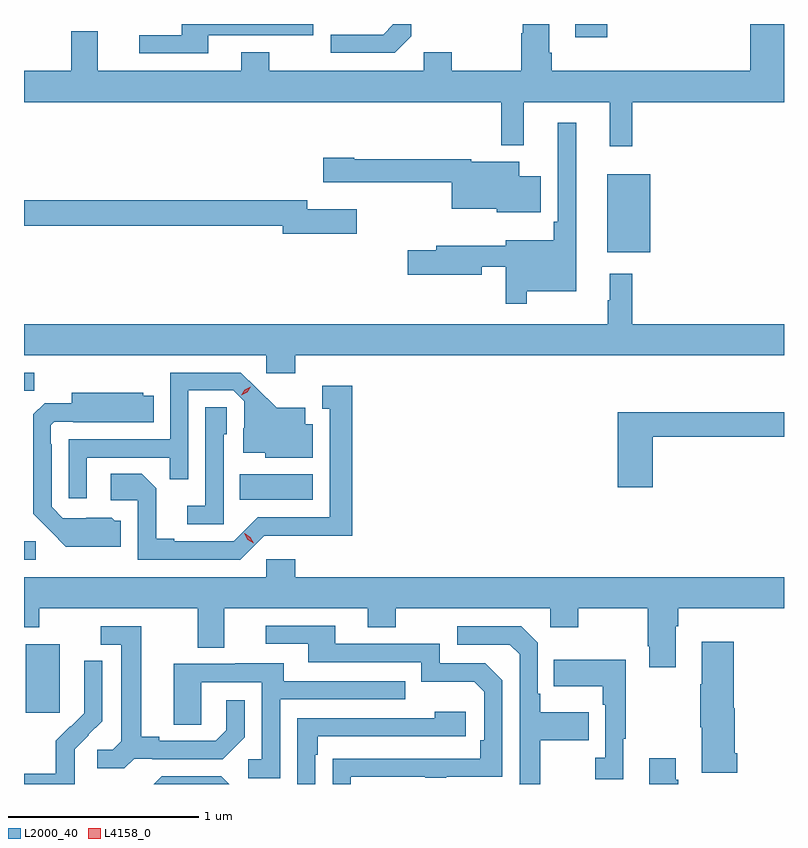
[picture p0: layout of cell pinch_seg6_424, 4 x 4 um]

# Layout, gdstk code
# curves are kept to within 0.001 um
import gdstk
lib = gdstk.Library(unit=1e-6, precision=1e-09)
def R(c, l, rs):  # rectangles x0, y0, x1, y1
    for r in rs: c.add(gdstk.rectangle(r[:2], r[2:], *l))
def P(c, l, *ps):  # polygons
    for p in ps: c.add(gdstk.Polygon(p, *l))
L2000_40 = (2000, 40)
L4158_0 = (4158, 0)

pinch_seg6_424 = lib.new_cell('pinch_seg6_424')
R(pinch_seg6_424, L2000_40, [(730.091,922.809,730.27,923.17), (730.082,923.616,730.144,923.712), (731.218,923.93,731.602,924.064), (730.082,924.505,730.137,924.6), (733.151,925.235,733.378,925.645), (732.983,926.364,733.151,926.435)])
P(pinch_seg6_424, L2000_40, [(731.053,926.376),(731.604,926.376),(731.604,926.435),(730.913,926.435),(730.913,926.376),(730.689,926.376),(730.689,926.28),(731.053,926.28)],
  [(732.713,926.024),(733.166,926.024),(733.166,925.791),(733.283,925.791),(733.283,926.024),(734.082,926.024),(734.082,926.435),(733.904,926.435),(733.904,926.188),(732.86,926.188),(732.86,926.284),(732.847,926.284),(732.847,926.435),(732.707,926.435),(732.707,926.387),(732.7,926.387),(732.7,926.188),(732.333,926.188),(732.333,926.287),(732.186,926.287),(732.186,926.188),(731.373,926.188),(731.373,926.287),(731.225,926.287),(731.225,926.188),(730.471,926.188),(730.471,926.396),(730.331,926.396),(730.331,926.188),(730.082,926.188),(730.082,926.024),(732.595,926.024),(732.595,925.796),(732.713,925.796)],
  [(732.12,926.37),(732.12,926.435),(732.024,926.435),(732.024,926.43),(731.973,926.379),(731.697,926.379),(731.697,926.283),(732.033,926.283)],
  [(732.727,925.028),(732.988,925.028),(732.988,925.915),(732.891,925.915),(732.891,925.393),(732.871,925.393),(732.871,925.297),(732.617,925.297),(732.617,925.268),(732.251,925.268),(732.251,925.245),(732.102,925.245),(732.102,925.115),(732.49,925.115),(732.49,925.158),(732.618,925.158),(732.618,924.963),(732.727,924.963)],
  [(732.802,925.633),(732.688,925.633),(732.688,925.711),(732.436,925.711),(732.436,925.723),(731.82,925.723),(731.82,925.731),(731.658,925.731),(731.658,925.601),(731.92,925.601),(731.92,925.602),(732.332,925.602),(732.332,925.463),(732.57,925.463),(732.57,925.445),(732.802,925.445)],
  [(731.833,925.459),(731.572,925.459),(731.572,925.508),(730.082,925.508),(730.082,925.372),(731.444,925.372),(731.444,925.33),(731.833,925.33)],
  [(731.51,924.692),(734.082,924.692),(734.082,924.856),(733.283,924.856),(733.283,925.12),(733.166,925.12),(733.166,924.98),(733.155,924.98),(733.155,924.856),(730.082,924.856),(730.082,924.692),(731.358,924.692),(731.358,924.597),(731.51,924.597)],
  [(730.413,924.153),(730.849,924.153),(730.849,924.04),(730.947,924.04),(730.947,924.507),(731.184,924.507),(731.241,924.45),(731.241,924.308),(731.237,924.308),(731.237,924.179),(731.352,924.179),(731.352,924.152),(731.602,924.152),(731.602,924.328),(731.563,924.328),(731.563,924.415),(731.411,924.415),(731.224,924.6),(730.851,924.6),(730.851,924.249),(730.317,924.249),(730.317,923.94),(730.413,923.94)],
  [(731.346,923.742),(731.809,923.741),(731.809,924.532),(731.651,924.532),(731.651,924.411),(731.69,924.411),(731.69,923.838),(731.313,923.838),(731.187,923.712),(730.873,923.712),(730.873,923.725),(730.779,923.725),(730.779,923.992),(730.703,924.068),(730.539,924.068),(730.539,923.928),(730.68,923.928),(730.68,923.616),(731.22,923.616)],
  [(730.591,923.82),(730.56,923.82),(730.544,923.836),(730.287,923.835),(730.227,923.895),(730.227,924.224),(730.224,924.224),(730.224,924.324),(730.242,924.342),(730.342,924.342),(730.342,924.338),(730.766,924.338),(730.766,924.478),(730.71,924.478),(730.71,924.493),(730.334,924.493),(730.334,924.439),(730.19,924.439),(730.131,924.38),(730.131,923.858),(730.303,923.684),(730.591,923.684)],
  [(731.133,924.276),(731.148,924.276),(731.148,924.419),(731.037,924.419),(731.037,923.899),(730.941,923.899),(730.941,923.802),(731.133,923.802)],
  [(733.391,924.262),(734.082,924.262),(734.082,924.391),(733.208,924.391),(733.208,923.997),(733.391,923.997)],
  [(733.513,923.264),(733.526,923.264),(733.526,923.36),(734.082,923.36),(734.082,923.524),(731.51,923.524),(731.51,923.617),(731.358,923.617),(731.358,923.524),(730.082,923.524),(730.082,923.261),(730.161,923.261),(730.161,923.36),(730.997,923.36),(730.997,923.152),(731.137,923.152),(731.137,923.36),(731.891,923.36),(731.891,923.261),(732.039,923.261),(732.039,923.36),(732.852,923.36),(732.852,923.261),(732.999,923.261),(732.999,923.36),(733.366,923.36),(733.366,923.161),(733.373,923.161),(733.373,923.049),(733.513,923.049)],
  [(731.803,922.473),(732.193,922.473),(732.193,922.468),(732.305,922.468),(732.305,922.473),(732.6,922.473),(732.6,922.98),(732.51,923.07),(732.27,923.07),(732.27,923.172),(731.719,923.172),(731.719,923.268),(731.355,923.268),(731.355,923.172),(731.579,923.172),(731.579,923.076),(732.174,923.076),(732.174,922.973),(732.451,922.973),(732.504,922.92),(732.504,922.666),(732.484,922.666),(732.484,922.569),(731.707,922.568),(731.707,922.435),(731.803,922.435)],
  [(730.662,922.569),(730.756,922.569),(730.756,922.566),(731.128,922.566),(731.244,922.682),(731.244,922.876),(731.147,922.876),(731.147,922.719),(731.09,922.662),(730.795,922.662),(730.795,922.685),(730.699,922.685),(730.699,923.265),(730.485,923.265),(730.485,923.169),(730.595,923.169),(730.595,922.661),(730.548,922.614),(730.467,922.614),(730.467,922.517),(730.61,922.517)],
  [(732.799,922.666),(733.055,922.666),(733.055,922.813),(732.799,922.813),(732.799,922.909),(732.786,922.909),(732.786,923.178),(732.699,923.265),(732.363,923.265),(732.363,923.169),(732.639,923.169),(732.69,923.118),(732.69,922.437),(732.688,922.435),(732.799,922.435)],
  [(733.835,922.597),(733.822,922.597),(733.822,922.833),(733.817,922.833),(733.817,923.185),(733.649,923.185),(733.649,922.961),(733.642,922.961),(733.642,922.733),(733.649,922.733),(733.649,922.493),(733.835,922.493)],
  [(733.237,922.673),(733.249,922.673),(733.249,923.089),(732.871,923.089),(732.871,922.949),(733.128,922.949),(733.128,922.853),(733.14,922.853),(733.14,922.574),(733.089,922.574),(733.089,922.461),(733.237,922.461)],
  [(730.35,922.521),(730.348,922.521),(730.348,922.618),(730.494,922.766),(730.494,923.084),(730.398,923.084),(730.398,922.93),(730.4,922.93),(730.4,922.808),(730.329,922.737),(730.326,922.74),(730.249,922.663),(730.249,922.489),(730.082,922.489),(730.082,922.435),(730.35,922.435)],
  [(731.43,922.881),(732.089,922.881),(732.089,922.977),(731.449,922.977),(731.449,923.071),(731.195,923.071),(731.195,923.067),(730.871,923.067),(730.871,922.747),(731.016,922.747),(731.016,922.971),(731.334,922.971),(731.334,922.566),(731.262,922.566),(731.262,922.465),(731.43,922.465)],
  [(731.616,922.589),(731.629,922.589),(731.629,922.686),(732.406,922.686),(732.406,922.816),(732.245,922.816),(732.245,922.782),(731.52,922.782),(731.52,922.435),(731.616,922.435)],
  [(733.526,922.457),(733.513,922.457),(733.513,922.57),(733.373,922.57),(733.373,922.435),(733.526,922.435)],
  [(731.121,922.476),(730.806,922.476),(730.765,922.435),(731.162,922.435)])
P(pinch_seg6_424, L4158_0, [(731.226,924.481),(731.226,924.481),(731.244,924.511),(731.275,924.526),(731.275,924.526),(731.275,924.526),(731.257,924.496),(731.226,924.481)],
  [(731.292,923.702),(731.26,923.721),(731.242,923.754),(731.242,923.754),(731.243,923.754),(731.274,923.735),(731.292,923.702),(731.292,923.702)])

lib.write_gds('pinch_seg6_424.gds')
